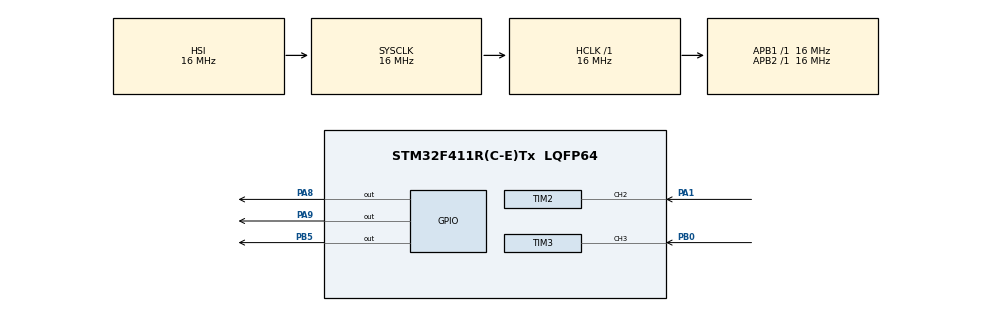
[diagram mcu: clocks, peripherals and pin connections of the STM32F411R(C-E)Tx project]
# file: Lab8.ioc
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Mcu.Family=STM32F4
Mcu.Name=STM32F411R(C-E)Tx
Mcu.Package=LQFP64
NVIC.PriorityGroup=NVIC_PRIORITYGROUP_4
NVIC.TIM2_IRQn=true\:0\:0\:false\:false\:true\:true\:true\:true
NVIC.TIM3_IRQn=true\:0\:0\:false\:false\:true\:true\:true\:true
NVIC.TIM4_IRQn=true\:0\:0\:false\:false\:true\:true\:true\:true
PA1.GPIO_PuPd=GPIO_NOPULL
PA1.Signal=S_TIM2_CH2
PA8.Signal=GPIO_Output
PA9.Signal=GPIO_Output
PB0.GPIO_PuPd=GPIO_NOPULL
PB0.Signal=S_TIM3_CH3
PB5.Signal=GPIO_Output
PH0\ -\ OSC_IN.Mode=HSE-External-Oscillator
PH0\ -\ OSC_IN.Signal=RCC_OSC_IN
PH1\ -\ OSC_OUT.Mode=HSE-External-Oscillator
PH1\ -\ OSC_OUT.Signal=RCC_OSC_OUT
ProjectManager.HeapSize=0x200
ProjectManager.StackSize=0x400
ProjectManager.TargetToolchain=MDK-ARM V5.32
RCC.48MHZClocksFreq_Value=32000000
RCC.AHBFreq_Value=16000000
RCC.APB1Freq_Value=16000000
RCC.APB1TimFreq_Value=16000000
RCC.APB2Freq_Value=16000000
RCC.APB2TimFreq_Value=16000000
RCC.CortexFreq_Value=16000000
RCC.HCLKFreq_Value=16000000
RCC.HSE_VALUE=26000000
RCC.HSI_VALUE=16000000
RCC.LSE_VALUE=32768
RCC.PLLM=8
RCC.PLLN=64
RCC.SYSCLKFreq_VALUE=16000000
RCC.VCOOutputFreq_Value=128000000
SH.S_TIM2_CH2.0=TIM2_CH2,Input_Capture2_from_TI2
SH.S_TIM3_CH3.0=TIM3_CH3,Input_Capture3_from_TI3
TIM2.Channel-Input_Capture2_from_TI2=TIM_CHANNEL_2
TIM2.ICPolarity_CH2=TIM_INPUTCHANNELPOLARITY_BOTHEDGE
TIM2.Period=0xFFFFFFFF-1
TIM2.Prescaler=16000-1
TIM2.TIM_MasterOutputTrigger=TIM_TRGO_RESET
TIM3.Channel-Input_Capture3_from_TI3=TIM_CHANNEL_3
TIM3.ICPolarity_CH3=TIM_INPUTCHANNELPOLARITY_BOTHEDGE
TIM3.Period=0xFFFF-1
TIM3.Prescaler=16000-1
TIM4.Period=100-1
TIM4.Prescaler=16-1
VP_TIM2_VS_ClockSourceINT.Mode=Internal
VP_TIM3_VS_ClockSourceINT.Mode=Internal
VP_TIM4_VS_ClockSourceINT.Mode=Internal
board=custom

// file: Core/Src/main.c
/* USER CODE BEGIN Header */
/**
  ******************************************************************************
  * @file           : main.c
  * @brief          : Main program body
  ******************************************************************************
  * @attention
  *
  * Copyright (c) 2023 STMicroelectronics.
  * All rights reserved.
  *
  * This software is licensed under terms that can be found in the LICENSE file
  * in the root directory of this software component.
  * If no LICENSE file comes with this software, it is provided AS-IS.
  *
  ******************************************************************************
  */
/* USER CODE END Header */
#include "main.h"

/* USER CODE BEGIN PD */
#define PeriodTIM3		0xFFFF
#define PeriodTIM2		0xFFFFFFFF
#define threshold			1000
/* USER CODE END PD */

TIM_HandleTypeDef htim2;
TIM_HandleTypeDef htim3;
TIM_HandleTypeDef htim4;

/* USER CODE BEGIN PV */
static const unsigned char sevenSegHex[10] = {0x3F, 0x06, 0x5B, 0x4F, 0x66,0x6D, 0x7D, 0x07, 0x7F, 0x6F};
static const unsigned char digitHex[4] = {0xFE, 0xFD, 0xFB, 0xF7};
volatile int N = 7;
volatile int M = 5;

int32_t IC_Val1 = 0;
int32_t IC_Val2 = 0;
uint32_t Difference = 0;
int Is_First_Captured = 0;
/* USER CODE END PV */

void SystemClock_Config(void);
static void MX_GPIO_Init(void);
static void MX_TIM2_Init(void);
static void MX_TIM3_Init(void);
static void MX_TIM4_Init(void);
/* USER CODE BEGIN PFP */
int pascal(int row, int col);
void shiftOut(unsigned char num);
/* USER CODE END PFP */

/* USER CODE BEGIN 0 */
void HAL_TIM_IC_CaptureCallback(TIM_HandleTypeDef *htim)
{
	if ((htim->Instance == TIM3 && htim->Channel == HAL_TIM_ACTIVE_CHANNEL_3) || (htim->Instance == TIM2 && htim->Channel == HAL_TIM_ACTIVE_CHANNEL_2))
	{
		if (Is_First_Captured == 0) // if the first rising edge is not captured
		{
			IC_Val1 = HAL_TIM_ReadCapturedValue(htim, ((htim->Channel == HAL_TIM_ACTIVE_CHANNEL_2) ? TIM_CHANNEL_2 : TIM_CHANNEL_3)); // read the first value
			Is_First_Captured = 1;  // set the first captured as true
		}

		else   // If the first rising edge is captured, now we will capture the second edge
		{
			IC_Val2 = HAL_TIM_ReadCapturedValue(htim, ((htim->Channel == HAL_TIM_ACTIVE_CHANNEL_2) ? TIM_CHANNEL_2 : TIM_CHANNEL_3));  // read second value

			if (IC_Val2 > IC_Val1)
			{
				Difference = IC_Val2 - IC_Val1;
			}

			else if (IC_Val1 > IC_Val2)
			{
				Difference = (((htim->Channel == HAL_TIM_ACTIVE_CHANNEL_2) ? PeriodTIM2 : PeriodTIM3) - IC_Val1) + IC_Val2;
			}

			if (htim->Channel == HAL_TIM_ACTIVE_CHANNEL_2)
			{
				if (!(N == 1 && (Difference >= threshold)))
					N += ((Difference < threshold) ? +1:-1);
			}
			else
			{
				if (!((M == N && (Difference < threshold)) || (M == 1 && (Difference >= threshold))))
					M += ((Difference < threshold) ? +1:-1);
			}

	 		__HAL_TIM_SET_COUNTER(htim, 0);  // reset the counter
			Is_First_Captured = 0; // set it back to false
		}
	}
}
void HAL_TIM_PeriodElapsedCallback(TIM_HandleTypeDef *htim)
{
	if (htim->Instance == TIM4)
	{
		int pasc = pascal(N, M);
		int digits[4] = {(pasc / 1000) % 10, (pasc / 100) % 10, (pasc / 10) % 10, pasc % 10};
		int first_write = 0;

		for(int i = 0; i < 4; i++)
		{
			if ((first_write == 0) && (digits[i] == 0))
				continue;

			first_write = 1;

			HAL_GPIO_WritePin(GPIOB, GPIO_PIN_5, GPIO_PIN_RESET);
			shiftOut(sevenSegHex[digits[i]]);
			shiftOut(digitHex[i]);
			HAL_GPIO_WritePin(GPIOB, GPIO_PIN_5, GPIO_PIN_SET);
		}
	}
}

void shiftOut(unsigned char num)
{
	for(int i = 7; i >= 0; i--)
	{
		HAL_GPIO_WritePin(GPIOA, GPIO_PIN_8, GPIO_PIN_RESET);

		if (((num >> i) & 0x01) == 0x00)
			HAL_GPIO_WritePin(GPIOA, GPIO_PIN_9, GPIO_PIN_SET);
		else
			HAL_GPIO_WritePin(GPIOA, GPIO_PIN_9, GPIO_PIN_RESET);

		HAL_GPIO_WritePin(GPIOA, GPIO_PIN_8, GPIO_PIN_SET);
	}
}
int pascal(int row, int col)
{
	if (col == 1 || row == col)
		return 1;
	else
		return pascal(row - 1, col) + pascal(row - 1, col - 1);
}
/* USER CODE END 0 */

int main(void)
{

  /* MCU Configuration--------------------------------------------------------*/

  /* Reset of all peripherals, Initializes the Flash interface and the Systick. */
  HAL_Init();

  /* Configure the system clock */
  SystemClock_Config();

  /* Initialize all configured peripherals */
  MX_GPIO_Init();
  MX_TIM2_Init();
  MX_TIM3_Init();
  MX_TIM4_Init();
  /* USER CODE BEGIN 2 */
	HAL_TIM_Base_Start_IT(&htim4);
	HAL_TIM_IC_Start_IT(&htim2, TIM_CHANNEL_1);
	HAL_TIM_IC_Start_IT(&htim2, TIM_CHANNEL_2);
	HAL_TIM_IC_Start_IT(&htim3, TIM_CHANNEL_3);
  /* USER CODE END 2 */

  /* Infinite loop */
  while (1)
  {

  }
}

void SystemClock_Config(void)
{
  RCC_OscInitTypeDef RCC_OscInitStruct = {0};
  RCC_ClkInitTypeDef RCC_ClkInitStruct = {0};

  /** Configure the main internal regulator output voltage
  */
  __HAL_RCC_PWR_CLK_ENABLE();
  __HAL_PWR_VOLTAGESCALING_CONFIG(PWR_REGULATOR_VOLTAGE_SCALE1);

  /** Initializes the RCC Oscillators according to the specified parameters
  * in the RCC_OscInitTypeDef structure.
  */
  RCC_OscInitStruct.OscillatorType = RCC_OSCILLATORTYPE_HSI;
  RCC_OscInitStruct.HSIState = RCC_HSI_ON;
  RCC_OscInitStruct.HSICalibrationValue = RCC_HSICALIBRATION_DEFAULT;
  RCC_OscInitStruct.PLL.PLLState = RCC_PLL_NONE;
  if (HAL_RCC_OscConfig(&RCC_OscInitStruct) != HAL_OK)
  {
    Error_Handler();
  }

  /** Initializes the CPU, AHB and APB buses clocks
  */
  RCC_ClkInitStruct.ClockType = RCC_CLOCKTYPE_HCLK|RCC_CLOCKTYPE_SYSCLK
                              |RCC_CLOCKTYPE_PCLK1|RCC_CLOCKTYPE_PCLK2;
  RCC_ClkInitStruct.SYSCLKSource = RCC_SYSCLKSOURCE_HSI;
  RCC_ClkInitStruct.AHBCLKDivider = RCC_SYSCLK_DIV1;
  RCC_ClkInitStruct.APB1CLKDivider = RCC_HCLK_DIV1;
  RCC_ClkInitStruct.APB2CLKDivider = RCC_HCLK_DIV1;

  if (HAL_RCC_ClockConfig(&RCC_ClkInitStruct, FLASH_LATENCY_0) != HAL_OK)
  {
    Error_Handler();
  }
}

static void MX_TIM2_Init(void)
{

  TIM_ClockConfigTypeDef sClockSourceConfig = {0};
  TIM_MasterConfigTypeDef sMasterConfig = {0};
  TIM_IC_InitTypeDef sConfigIC = {0};

  htim2.Instance = TIM2;
  htim2.Init.Prescaler = 16000-1;
  htim2.Init.CounterMode = TIM_COUNTERMODE_UP;
  htim2.Init.Period = 0xFFFFFFFF-1;
  htim2.Init.ClockDivision = TIM_CLOCKDIVISION_DIV1;
  htim2.Init.AutoReloadPreload = TIM_AUTORELOAD_PRELOAD_DISABLE;
  if (HAL_TIM_Base_Init(&htim2) != HAL_OK)
  {
    Error_Handler();
  }
  sClockSourceConfig.ClockSource = TIM_CLOCKSOURCE_INTERNAL;
  if (HAL_TIM_ConfigClockSource(&htim2, &sClockSourceConfig) != HAL_OK)
  {
    Error_Handler();
  }
  if (HAL_TIM_IC_Init(&htim2) != HAL_OK)
  {
    Error_Handler();
  }
  sMasterConfig.MasterOutputTrigger = TIM_TRGO_RESET;
  sMasterConfig.MasterSlaveMode = TIM_MASTERSLAVEMODE_DISABLE;
  if (HAL_TIMEx_MasterConfigSynchronization(&htim2, &sMasterConfig) != HAL_OK)
  {
    Error_Handler();
  }
  sConfigIC.ICPolarity = TIM_INPUTCHANNELPOLARITY_BOTHEDGE;
  sConfigIC.ICSelection = TIM_ICSELECTION_DIRECTTI;
  sConfigIC.ICPrescaler = TIM_ICPSC_DIV1;
  sConfigIC.ICFilter = 0;
  if (HAL_TIM_IC_ConfigChannel(&htim2, &sConfigIC, TIM_CHANNEL_2) != HAL_OK)
  {
    Error_Handler();
  }

}

static void MX_TIM3_Init(void)
{

  TIM_ClockConfigTypeDef sClockSourceConfig = {0};
  TIM_MasterConfigTypeDef sMasterConfig = {0};
  TIM_IC_InitTypeDef sConfigIC = {0};

  htim3.Instance = TIM3;
  htim3.Init.Prescaler = 16000-1;
  htim3.Init.CounterMode = TIM_COUNTERMODE_UP;
  htim3.Init.Period = 0xFFFF-1;
  htim3.Init.ClockDivision = TIM_CLOCKDIVISION_DIV1;
  htim3.Init.AutoReloadPreload = TIM_AUTORELOAD_PRELOAD_DISABLE;
  if (HAL_TIM_Base_Init(&htim3) != HAL_OK)
  {
    Error_Handler();
  }
  sClockSourceConfig.ClockSource = TIM_CLOCKSOURCE_INTERNAL;
  if (HAL_TIM_ConfigClockSource(&htim3, &sClockSourceConfig) != HAL_OK)
  {
    Error_Handler();
  }
  if (HAL_TIM_IC_Init(&htim3) != HAL_OK)
  {
    Error_Handler();
  }
  sMasterConfig.MasterOutputTrigger = TIM_TRGO_RESET;
  sMasterConfig.MasterSlaveMode = TIM_MASTERSLAVEMODE_DISABLE;
  if (HAL_TIMEx_MasterConfigSynchronization(&htim3, &sMasterConfig) != HAL_OK)
  {
    Error_Handler();
  }
  sConfigIC.ICPolarity = TIM_INPUTCHANNELPOLARITY_BOTHEDGE;
  sConfigIC.ICSelection = TIM_ICSELECTION_DIRECTTI;
  sConfigIC.ICPrescaler = TIM_ICPSC_DIV1;
  sConfigIC.ICFilter = 0;
  if (HAL_TIM_IC_ConfigChannel(&htim3, &sConfigIC, TIM_CHANNEL_3) != HAL_OK)
  {
    Error_Handler();
  }

}

static void MX_TIM4_Init(void)
{

  TIM_ClockConfigTypeDef sClockSourceConfig = {0};
  TIM_MasterConfigTypeDef sMasterConfig = {0};

  htim4.Instance = TIM4;
  htim4.Init.Prescaler = 16-1;
  htim4.Init.CounterMode = TIM_COUNTERMODE_UP;
  htim4.Init.Period = 100-1;
  htim4.Init.ClockDivision = TIM_CLOCKDIVISION_DIV1;
  htim4.Init.AutoReloadPreload = TIM_AUTORELOAD_PRELOAD_DISABLE;
  if (HAL_TIM_Base_Init(&htim4) != HAL_OK)
  {
    Error_Handler();
  }
  sClockSourceConfig.ClockSource = TIM_CLOCKSOURCE_INTERNAL;
  if (HAL_TIM_ConfigClockSource(&htim4, &sClockSourceConfig) != HAL_OK)
  {
    Error_Handler();
  }
  sMasterConfig.MasterOutputTrigger = TIM_TRGO_RESET;
  sMasterConfig.MasterSlaveMode = TIM_MASTERSLAVEMODE_DISABLE;
  if (HAL_TIMEx_MasterConfigSynchronization(&htim4, &sMasterConfig) != HAL_OK)
  {
    Error_Handler();
  }

}

static void MX_GPIO_Init(void)
{
  GPIO_InitTypeDef GPIO_InitStruct = {0};

  /* GPIO Ports Clock Enable */
  __HAL_RCC_GPIOH_CLK_ENABLE();
  __HAL_RCC_GPIOA_CLK_ENABLE();
  __HAL_RCC_GPIOB_CLK_ENABLE();

  /*Configure GPIO pin Output Level */
  HAL_GPIO_WritePin(GPIOA, GPIO_PIN_8|GPIO_PIN_9, GPIO_PIN_RESET);

  /*Configure GPIO pin Output Level */
  HAL_GPIO_WritePin(GPIOB, GPIO_PIN_5, GPIO_PIN_RESET);

  /*Configure GPIO pins : PA8 PA9 */
  GPIO_InitStruct.Pin = GPIO_PIN_8|GPIO_PIN_9;
  GPIO_InitStruct.Mode = GPIO_MODE_OUTPUT_PP;
  GPIO_InitStruct.Pull = GPIO_NOPULL;
  GPIO_InitStruct.Speed = GPIO_SPEED_FREQ_LOW;
  HAL_GPIO_Init(GPIOA, &GPIO_InitStruct);

  /*Configure GPIO pin : PB5 */
  GPIO_InitStruct.Pin = GPIO_PIN_5;
  GPIO_InitStruct.Mode = GPIO_MODE_OUTPUT_PP;
  GPIO_InitStruct.Pull = GPIO_NOPULL;
  GPIO_InitStruct.Speed = GPIO_SPEED_FREQ_LOW;
  HAL_GPIO_Init(GPIOB, &GPIO_InitStruct);

}

void Error_Handler(void)
{
  __disable_irq();
  while (1)
  {
  }
}
